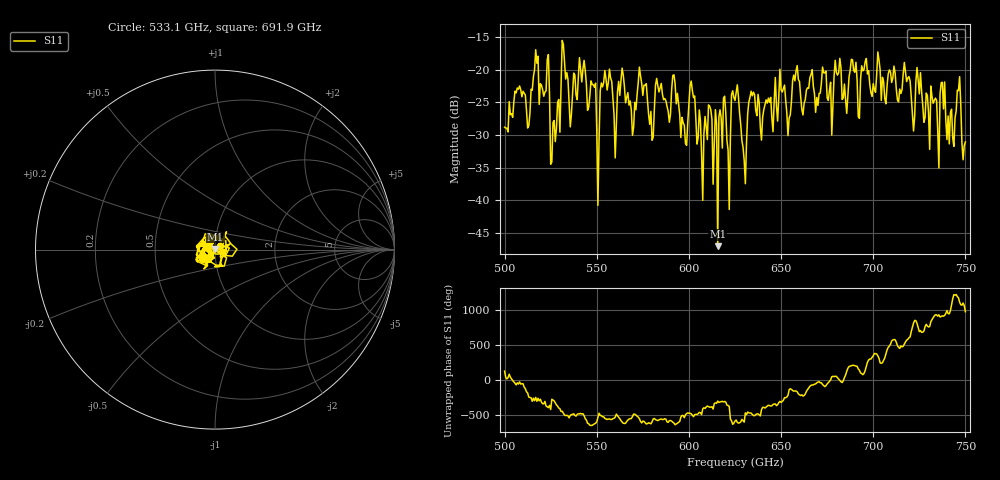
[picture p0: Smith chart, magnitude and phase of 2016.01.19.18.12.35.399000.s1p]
!Created with skrf (http://scikit-rf.org).
# GHz S RI R 50.0
!freq ReS11 ImS11
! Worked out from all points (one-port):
!   401 points, 500 GHz to 750 GHz, reference 50 ohm
!   lowest |S11| = -47.0 dB at 615.6 GHz (marker M1), VSWR 1.01, Z = 50.2 + j0.397 ohm
!   |S11| at or under -10 dB: start of sweep to end of sweep
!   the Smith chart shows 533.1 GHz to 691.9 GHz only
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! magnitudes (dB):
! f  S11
! 500 GHz  -28.8
! 513.1 GHz  -28.5
! 516.9 GHz  -16.9
! 523.1 GHz  -18.5
! 526.2 GHz  -28.1
! 531.2 GHz  -15.5
! 548.1 GHz  -22.3
! 550.6 GHz  -40.7
! 553.1 GHz  -22.6
! 560 GHz  -33.5
! 562.5 GHz  -23.9
! 570 GHz  -28.8
! 574.4 GHz  -22.1
! 579.4 GHz  -26.4
! 583.1 GHz  -22.4
! 593.8 GHz  -23.6
! 615.6 GHz  -47.0
! 618.8 GHz  -24.4
! 621.2 GHz  -32.3
! 625 GHz  -24.7
! 630 GHz  -33.9
! 633.8 GHz  -23.3
! 656.2 GHz  -21.6
! 687.5 GHz  -20.0
! 718.8 GHz  -21.3
! 742.5 GHz  -26.0
! 746.2 GHz  -23.2
! 750 GHz  -31.0
